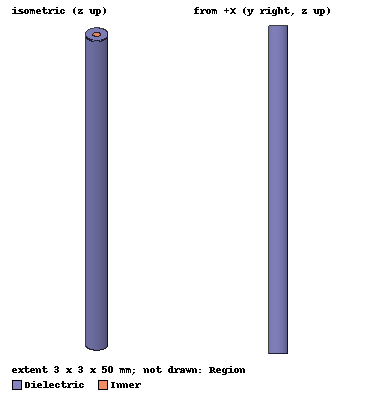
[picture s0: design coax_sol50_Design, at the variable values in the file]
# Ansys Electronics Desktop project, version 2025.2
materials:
  vacuum: permittivity=1
  CoaxDielectric: permittivity=2.2 permeability=1 dielectric_loss_tangent=0.001
  copper: permeability=0.999991 conductivity=58000000
  air: permittivity=1.0006 permeability=1.0000004

design coax_sol50_Design (HFSS, HFSS Terminal Network, model units mm)
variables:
  Ci_R_inner = 0.5mm
  Ci_R_outer = 1.5mm
  Ci_epsr = 2.2
  Ci_losst = 0.001
  Ci_len = 50mm
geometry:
  Inner [copper] = cylinder(axis=Z, base_centre=(0mm, 0mm, 0mm), radius=Ci_R_inner, height=Ci_len)
  Dielectric [CoaxDielectric] = cylinder(axis=Z, base_centre=(0mm, 0mm, 0mm), radius=Ci_R_outer, height=Ci_len)
  Region [air] = region(percentage_offset=100 on all sides)
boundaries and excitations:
  P1: Wave Port Faces=Inner.face(-z end) WavePortType=Modal NumModes=1 Modes{Mode1{CharImp=Zpi RenormImp=50ohm}}
  P2: Wave Port Faces=Inner.face(+z end) WavePortType=Modal NumModes=1 Modes{Mode1{CharImp=Zpi RenormImp=50ohm}}
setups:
  Setup1: HfssDriven Frequency=2GHz MaxDeltaS=0.02 MaximumPasses=4 MinimumPasses=1 MinimumConvergedPasses=1 PercentRefinement=30 BasisOrder=1 PortAccuracy=2 DrivenSolverType="Direct Solver"
    sweep Sweep_5EYEXY: 1GHz to 3GHz, 11 points; Type=Discrete SaveFields
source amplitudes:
  P1:1: 1V 0deg
  P2:1: 0V 0deg
